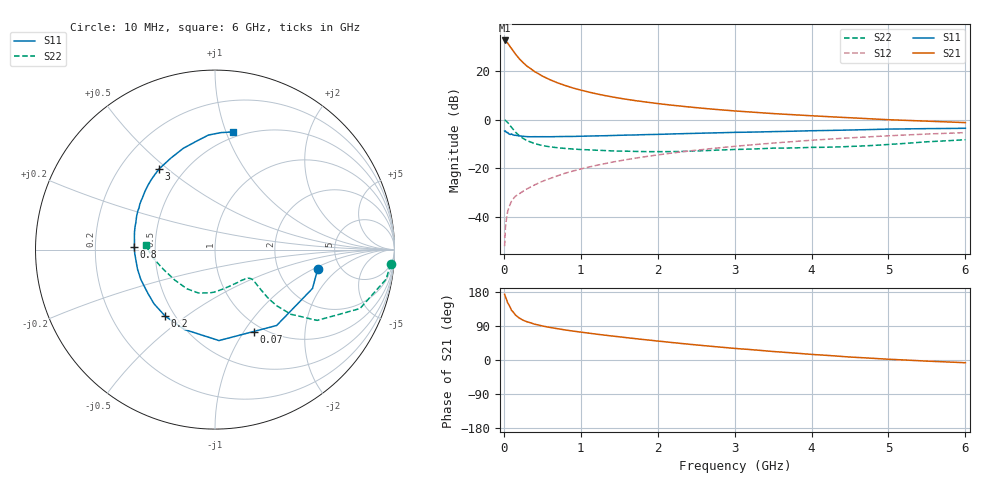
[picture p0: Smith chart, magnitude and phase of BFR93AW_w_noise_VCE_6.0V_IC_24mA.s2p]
! (c) 2017  Infineon Technologies AG, Munich
! Infineon Technologies  Discrete & RF Semiconductors
! BFR93AW
! VCE =  6.0 V,  IC =  24 mA
! Common Emitter S-Parameters:  Jan 2017
# GHz  S  MA  R  50
!  f  S11  S21  S12  S22
! GHz  MAG  ANG  MAG  ANG  MAG  ANG  MAG  ANG
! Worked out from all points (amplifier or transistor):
!   77 points, 10 MHz to 6 GHz, reference 50 ohm
!   highest |S21| = 32.6 dB at 10 MHz (marker M1)
!   |S21| within 3 dB of that: start of sweep to 92.06 MHz
!   unconditionally stable (mu >= 1): 634.3 MHz to 2.048 GHz
!   at 130 MHz: K = 0.47, MSG = 30.1 dB, |S12| = -32.3 dB
!   at 2.2 GHz: K = 0.99, MSG = 9.8 dB, |S12| = -13.7 dB
!   at 6 GHz: K = 0.87, MSG = 2.1 dB, |S12| = -5.3 dB
!   lowest NFmin = 1.63 dB at 450 MHz
!   S11 on the Smith chart (normalised r, x): 10 MHz: 3.38, -1.13; 70 MHz: 0.90, -1.11; 200 MHz: 0.44, -0.42; 800 MHz: 0.38, +0.01; 3 GHz: 0.37, +0.47; 6 GHz: 0.45, +1.06
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0.01  0.5821 -10.9  42.43 173.3  0.0025 82.6  0.9814 -4.7
0.02  0.5849 -21.7  42.15 167.4  0.0058 87.7  0.9677 -9.8
0.05  0.5447 -50.9  37.52 150.7  0.013 70.2  0.8722 -22.1
0.07  0.5045 -64.8  33.64 144.0  0.0162 66.3  0.796 -26.5
0.1  0.5073 -87.5  28.94 131.0  0.021 62.7  0.6926 -34.7
0.15  0.4765 -111.1  22.39 118.8  0.0266 57.9  0.5565 -40.4
0.2  0.4627 -127.0  17.9 110.8  0.0298 59.0  0.4689 -42.2
0.25  0.4546 -138.3  14.86 105.0  0.0336 59.4  0.4111 -42.5
0.3  0.4466 -146.5  12.61 100.9  0.0375 60.5  0.3702 -41.9
0.4  0.4456 -158.0  9.711 94.5  0.0454 62.7  0.3214 -40.6
0.5  0.4453 -165.9  7.853 89.8  0.0538 64.6  0.2933 -39.5
0.6  0.4445 -172.3  6.609 85.9  0.0615 66.4  0.2755 -38.8
0.7  0.4477 -177.2  5.694 82.5  0.0702 67.9  0.2639 -38.7
0.8  0.45 178.4  5.011 79.2  0.0794 68.7  0.2554 -39.1
1.1  0.4592 167.5  3.697 71.0  0.1054 69.1  0.2393 -42.4
1.5  0.4759 156.3  2.765 61.2  0.1418 68.0  0.2251 -50.6
2.1  0.5021 142.2  2.052 48.0  0.1973 64.2  0.2196 -68.5
3  0.5469 124.6  1.51 30.6  0.2824 56.9  0.2433 -97.2
3.1  0.5497 122.7  1.472 29.1  0.2916 55.9  0.2452 -100.1
4.1  0.5943 106.0  1.178 13.5  0.3854 45.9  0.2691 -129.1
5.1  0.6414 92.0  0.982 1.1  0.4727 34.9  0.3155 -162.4
6  0.6634 81.4  0.868 -7.2  0.5414 24.8  0.386 176.6
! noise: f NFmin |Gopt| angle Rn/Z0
0.45  1.63  0.16  169  0.16
0.9  1.9  0.24  180  0.16
1.9  2.91  0.49  -137  0.25
2.4  3.56  0.55  -125  0.49
